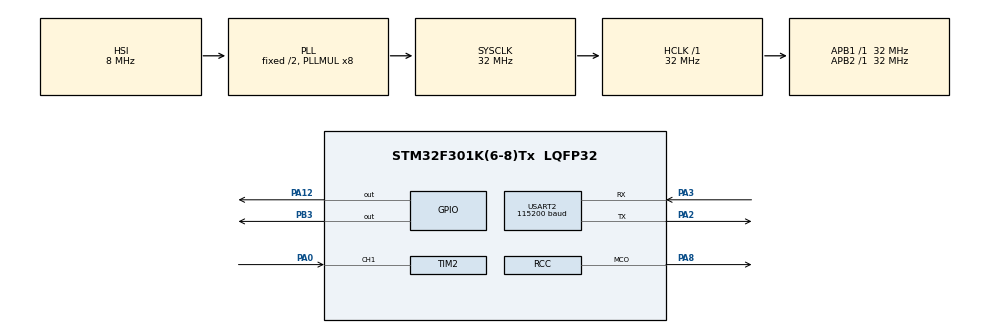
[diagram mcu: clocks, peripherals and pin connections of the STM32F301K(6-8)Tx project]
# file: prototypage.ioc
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Mcu.Family=STM32F3
Mcu.Name=STM32F301K(6-8)Tx
Mcu.Package=LQFP32
NVIC.PriorityGroup=NVIC_PRIORITYGROUP_4
NVIC.TIM2_IRQn=true\:0\:0\:false\:false\:true\:true\:true
PA0.Signal=S_TIM2_CH1_ETR
PA12.Signal=GPIO_Output
PA2.Mode=Asynchronous
PA2.Signal=USART2_TX
PA3.Mode=Asynchronous
PA3.Signal=USART2_RX
PA8.Mode=Clock-out
PA8.Signal=RCC_MCO
PB3.Signal=GPIO_Output
PF0-OSC_IN.Mode=HSE-External-Oscillator
PF0-OSC_IN.Signal=RCC_OSC_IN
PF1-OSC_OUT.Mode=HSE-External-Oscillator
PF1-OSC_OUT.Signal=RCC_OSC_OUT
ProjectManager.HeapSize=0x200
ProjectManager.StackSize=0x400
ProjectManager.TargetToolchain=STM32CubeIDE
RCC.AHBFreq_Value=32000000
RCC.APB1Freq_Value=32000000
RCC.APB1TimFreq_Value=32000000
RCC.APB2Freq_Value=32000000
RCC.APB2TimFreq_Value=32000000
RCC.CortexFreq_Value=32000000
RCC.HCLKFreq_Value=32000000
RCC.HSE_VALUE=8000000
RCC.HSI_VALUE=8000000
RCC.PLLMUL=RCC_PLL_MUL8
RCC.SYSCLKFreq_VALUE=32000000
RCC.SYSCLKSourceVirtual=RCC_SYSCLKSOURCE_PLLCLK
SH.S_TIM2_CH1_ETR.0=TIM2_CH1,Input_Capture1_from_TI1
TIM2.AutoReloadPreload=TIM_AUTORELOAD_PRELOAD_ENABLE
TIM2.Channel-Input_Capture1_from_TI1=TIM_CHANNEL_1
USART2.BaudRate=115200
USART2.VirtualMode-Asynchronous=VM_ASYNC
VP_TIM2_VS_ClockSourceINT.Mode=Internal
board=custom

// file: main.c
/* USER CODE BEGIN Header */
/**
  ******************************************************************************
  * @file           : main.c
  * @brief          : Main program body
  ******************************************************************************
  * @attention
  *
  * <h2><center>&copy; Copyright (c) 2022 STMicroelectronics.
  * All rights reserved.</center></h2>
  *
  * This software component is licensed by ST under BSD 3-Clause license,
  * the "License"; You may not use this file except in compliance with the
  * License. You may obtain a copy of the License at:
  *                        opensource.org/licenses/BSD-3-Clause
  *
  ******************************************************************************
  */
/* USER CODE END Header */
#include "main.h"

TIM_HandleTypeDef htim2;

UART_HandleTypeDef huart2;

/* USER CODE BEGIN PV */
//uint32_t mesure_i;
//uint32_t mesure_i_m_1;
//uint32_t f_mes = 0;
uint8_t mesure;
char mesures[100];
/* USER CODE END PV */

void SystemClock_Config(void);
static void MX_GPIO_Init(void);
static void MX_TIM2_Init(void);
static void MX_USART2_UART_Init(void);

int main(void)
{

  /* MCU Configuration--------------------------------------------------------*/

  /* Reset of all peripherals, Initializes the Flash interface and the Systick. */
HAL_Init();

  /* Configure the system clock */
  SystemClock_Config();

  /* Initialize all configured peripherals */
  MX_GPIO_Init();
  MX_TIM2_Init();
  MX_USART2_UART_Init();
  /* USER CODE BEGIN 2 */
  HAL_TIM_IC_Start_IT (&htim2, TIM_CHANNEL_1);
  //HAL_TIM_Base_Start_IT(&htim2);

  /* USER CODE END 2 */

  /* Infinite loop */
  while (1)
  {

  }
}

void SystemClock_Config(void)
{
  RCC_OscInitTypeDef RCC_OscInitStruct = {0};
  RCC_ClkInitTypeDef RCC_ClkInitStruct = {0};

  /** Initializes the RCC Oscillators according to the specified parameters
  * in the RCC_OscInitTypeDef structure.
  */
  RCC_OscInitStruct.OscillatorType = RCC_OSCILLATORTYPE_HSI;
  RCC_OscInitStruct.HSIState = RCC_HSI_ON;
  RCC_OscInitStruct.HSICalibrationValue = RCC_HSICALIBRATION_DEFAULT;
  RCC_OscInitStruct.PLL.PLLState = RCC_PLL_ON;
  RCC_OscInitStruct.PLL.PLLSource = RCC_PLLSOURCE_HSI;
  RCC_OscInitStruct.PLL.PLLMUL = RCC_PLL_MUL8;
  if (HAL_RCC_OscConfig(&RCC_OscInitStruct) != HAL_OK)
  {
    Error_Handler();
  }
  /** Initializes the CPU, AHB and APB buses clocks
  */
  RCC_ClkInitStruct.ClockType = RCC_CLOCKTYPE_HCLK|RCC_CLOCKTYPE_SYSCLK
                              |RCC_CLOCKTYPE_PCLK1|RCC_CLOCKTYPE_PCLK2;
  RCC_ClkInitStruct.SYSCLKSource = RCC_SYSCLKSOURCE_PLLCLK;
  RCC_ClkInitStruct.AHBCLKDivider = RCC_SYSCLK_DIV1;
  RCC_ClkInitStruct.APB1CLKDivider = RCC_HCLK_DIV1;
  RCC_ClkInitStruct.APB2CLKDivider = RCC_HCLK_DIV1;

  if (HAL_RCC_ClockConfig(&RCC_ClkInitStruct, FLASH_LATENCY_1) != HAL_OK)
  {
    Error_Handler();
  }
  HAL_RCC_MCOConfig(RCC_MCO, RCC_MCO1SOURCE_SYSCLK, RCC_MCODIV_1);
}

static void MX_TIM2_Init(void)
{

  TIM_ClockConfigTypeDef sClockSourceConfig = {0};
  TIM_MasterConfigTypeDef sMasterConfig = {0};
  TIM_IC_InitTypeDef sConfigIC = {0};

  htim2.Instance = TIM2;
  htim2.Init.Prescaler = 0;
  htim2.Init.CounterMode = TIM_COUNTERMODE_UP;
  htim2.Init.Period = 4294967295;
  htim2.Init.ClockDivision = TIM_CLOCKDIVISION_DIV1;
  htim2.Init.AutoReloadPreload = TIM_AUTORELOAD_PRELOAD_ENABLE;
  if (HAL_TIM_Base_Init(&htim2) != HAL_OK)
  {
    Error_Handler();
  }
  sClockSourceConfig.ClockSource = TIM_CLOCKSOURCE_INTERNAL;
  if (HAL_TIM_ConfigClockSource(&htim2, &sClockSourceConfig) != HAL_OK)
  {
    Error_Handler();
  }
  if (HAL_TIM_IC_Init(&htim2) != HAL_OK)
  {
    Error_Handler();
  }
  sMasterConfig.MasterOutputTrigger = TIM_TRGO_RESET;
  sMasterConfig.MasterSlaveMode = TIM_MASTERSLAVEMODE_DISABLE;
  if (HAL_TIMEx_MasterConfigSynchronization(&htim2, &sMasterConfig) != HAL_OK)
  {
    Error_Handler();
  }
  sConfigIC.ICPolarity = TIM_INPUTCHANNELPOLARITY_RISING;
  sConfigIC.ICSelection = TIM_ICSELECTION_DIRECTTI;
  sConfigIC.ICPrescaler = TIM_ICPSC_DIV1;
  sConfigIC.ICFilter = 0;
  if (HAL_TIM_IC_ConfigChannel(&htim2, &sConfigIC, TIM_CHANNEL_1) != HAL_OK)
  {
    Error_Handler();
  }

}

static void MX_USART2_UART_Init(void)
{

  huart2.Instance = USART2;
  huart2.Init.BaudRate = 115200;
  huart2.Init.WordLength = UART_WORDLENGTH_8B;
  huart2.Init.StopBits = UART_STOPBITS_1;
  huart2.Init.Parity = UART_PARITY_NONE;
  huart2.Init.Mode = UART_MODE_TX_RX;
  huart2.Init.HwFlowCtl = UART_HWCONTROL_NONE;
  huart2.Init.OverSampling = UART_OVERSAMPLING_16;
  huart2.Init.OneBitSampling = UART_ONE_BIT_SAMPLE_DISABLE;
  huart2.AdvancedInit.AdvFeatureInit = UART_ADVFEATURE_NO_INIT;
  if (HAL_UART_Init(&huart2) != HAL_OK)
  {
    Error_Handler();
  }

}

static void MX_GPIO_Init(void)
{
  GPIO_InitTypeDef GPIO_InitStruct = {0};

  /* GPIO Ports Clock Enable */
  __HAL_RCC_GPIOF_CLK_ENABLE();
  __HAL_RCC_GPIOA_CLK_ENABLE();
  __HAL_RCC_GPIOB_CLK_ENABLE();

  /*Configure GPIO pin Output Level */
  HAL_GPIO_WritePin(GPIOA, GPIO_PIN_12, GPIO_PIN_RESET);

  /*Configure GPIO pin Output Level */
  HAL_GPIO_WritePin(GPIOB, GPIO_PIN_3, GPIO_PIN_RESET);

  /*Configure GPIO pin : PA8 */
  GPIO_InitStruct.Pin = GPIO_PIN_8;
  GPIO_InitStruct.Mode = GPIO_MODE_AF_PP;
  GPIO_InitStruct.Pull = GPIO_NOPULL;
  GPIO_InitStruct.Speed = GPIO_SPEED_FREQ_LOW;
  GPIO_InitStruct.Alternate = GPIO_AF0_MCO;
  HAL_GPIO_Init(GPIOA, &GPIO_InitStruct);

  /*Configure GPIO pin : PA12 */
  GPIO_InitStruct.Pin = GPIO_PIN_12;
  GPIO_InitStruct.Mode = GPIO_MODE_OUTPUT_PP;
  GPIO_InitStruct.Pull = GPIO_NOPULL;
  GPIO_InitStruct.Speed = GPIO_SPEED_FREQ_LOW;
  HAL_GPIO_Init(GPIOA, &GPIO_InitStruct);

  /*Configure GPIO pin : PB3 */
  GPIO_InitStruct.Pin = GPIO_PIN_3;
  GPIO_InitStruct.Mode = GPIO_MODE_OUTPUT_PP;
  GPIO_InitStruct.Pull = GPIO_NOPULL;
  GPIO_InitStruct.Speed = GPIO_SPEED_FREQ_LOW;
  HAL_GPIO_Init(GPIOB, &GPIO_InitStruct);

}

/* USER CODE BEGIN 4 */
void HAL_TIM_IC_CaptureCallback(TIM_HandleTypeDef *htim)
{
	static int mesure_i = 0;
	static int mesure_i_m_1 =0;
	static float f_mes = 0;
	//static float capacite = 0;
	//static float capacite0 = 0;
	static float f_mes0 = 0;
	static int captured = 0; //false
	static float moyenne=0;
	//static float moyenne_c=0;
	static int compteur=0;
	static int initialisation = 1;

	if (captured==0){
		mesure_i_m_1 = HAL_TIM_ReadCapturedValue(&htim2, TIM_CHANNEL_1);
		captured = 1;
	}
	else
	{
		mesure_i = HAL_TIM_ReadCapturedValue(&htim2, TIM_CHANNEL_1);
		captured = 0;
		f_mes = 32000.0/(mesure_i-mesure_i_m_1);

		//capacite = 1.0/(f_mes*10000.0); // C=1/(R4f)

		moyenne+=f_mes;
		//moyenne_c+=capacite*10e9; //afficher la capacite en nF
		compteur++;
		if(compteur==100){
			compteur=0;
			moyenne=moyenne/100.0;
			//moyenne_c=moyenne_c/100.0;
			if (initialisation == 1){
				//capacite0 = moyenne;
				f_mes0 = moyenne;
				initialisation = 0;
			}

			sprintf(mesures, "%f \n", moyenne);
			//sprintf(mesures, "%f \n", moyenne_c);
			HAL_UART_Transmit(&huart2,mesures, sizeof(mesures),100);
			if(moyenne<f_mes0-2.0){ //gn : 2.0 et wafer 2.5
			//if(moyenne<capacite0){
				HAL_GPIO_WritePin(GPIOB, GPIO_PIN_3, 1); //led on
				HAL_GPIO_WritePin(GPIOA, GPIO_PIN_12, 1); //envoyer signal au transistor pour lancer tapis chauffant

			}
			else
			{
				HAL_GPIO_WritePin(GPIOB, GPIO_PIN_3, 0); //led off
				HAL_GPIO_WritePin(GPIOA, GPIO_PIN_12, 0);
			}
		}
	}
	//f_mes = (((mesure_i-mesure_i_m_1)*64000000)/4294967295);

	//f_mes = 32000000.0/(mesure_i-mesure_i_m_1);

}
/* USER CODE END 4 */

void Error_Handler(void)
{
  __disable_irq();
  while (1)
  {
  }
}

/************************ (C) COPYRIGHT STMicroelectronics *****END OF FILE****/
